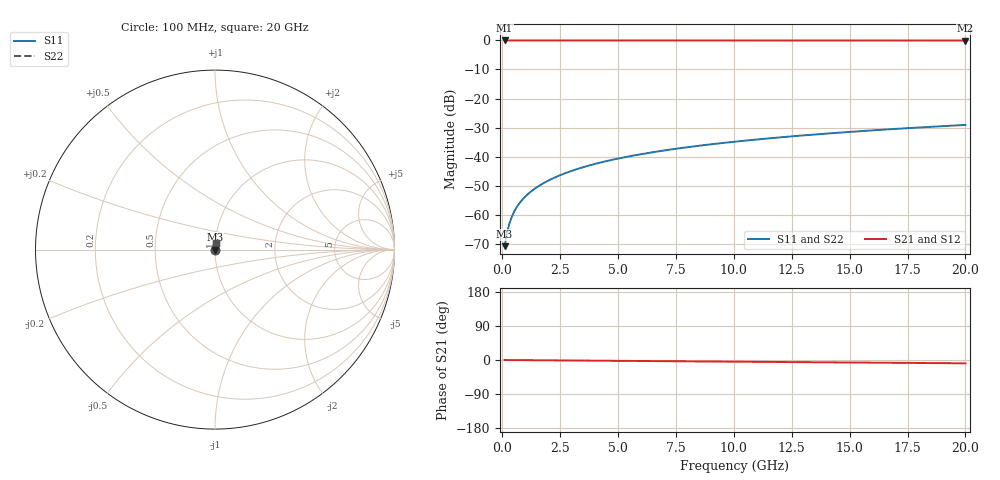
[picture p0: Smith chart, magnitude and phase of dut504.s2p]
! Touchstone file exported from HFSS 2026.1.0
!  File:  C:/ffzhzh/LocalFiles/Ansys_Project_Files/temp_train_TSV_504_1783023122_55676.aedt
!  Generated:  04:14:11 AM Jul  3, 2026
!  Design:  TSV
!  Project:  temp_train_TSV_504_1783023122_55676
! Variables:
!  h_bsmrdl = 2um
!  h_ox = 20um
!  h_rdl = 5um
!  h_sub = 84.95um
!  h_tmrdl = 5um
!  h_tsv = 84.95um
!  h_via = 3um
!  l_bsmrdl = 300um
!  l_sub = 416.3um
!  l_tmrdl = 200um
!  m_sub = 200um
!  pitch = 44.2um
!  r_tsv = 8.15um
!  s_tmrdl = 10um
!  w_bsmrdl = 18um
!  w_sub = 500um
!  w_tmrdl = 12um
!  x_tsv_center1 = 206um
!  x_tsv_center2 = 524um
!  x_tsv_center3 = 736um
!  x_tsv_center4 = 1054um
!  x_tsv_center5 = 1266um
!  x_tsv_center6 = 1584um
# GHz S MA R 50.000000
! Terminal data exported
! Port[1] = TSV1_1_T1
! Port[2] = TSV1_1_T2
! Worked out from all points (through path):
!   200 points, 100 MHz to 20 GHz, reference 50 ohm
!   highest |S21| = 0.00 dB at 100 MHz (marker M1); lowest = 0.0 dB at 20 GHz (marker M2)
!   group delay of S21, straight-line fit = 1.21 ps
!   lowest |S11| = -70.8 dB at 100 MHz (marker M3), VSWR 1.00, Z = 50 + j0.0221 ohm
!   |S11| at or under -10 dB: start of sweep to end of sweep
!   |S22| runs from -70.8 to -29.1 dB; largest |S21 - S12| = 6.1e-15
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0.1  0.0002868 50.5  0.9998 -0.0  0.9998 -0.0  0.0002868 50.5
! Gamma 0 0 0 0
! Port Impedance 50 0 50 0
0.2  0.000481 66.2  0.9998 -0.1  0.9998 -0.1  0.000481 66.2
0.3  0.0006883 72.1  0.9998 -0.1  0.9998 -0.1  0.0006883 72.1
0.4  0.0008957 74.9  0.9998 -0.2  0.9998 -0.2  0.0008957 74.9
0.5  0.0011 76.4  0.9997 -0.2  0.9997 -0.2  0.0011 76.4
0.6  0.0013 77.4  0.9997 -0.3  0.9997 -0.3  0.0013 77.4
0.7  0.001495 78.0  0.9997 -0.3  0.9997 -0.3  0.001495 78.0
0.8  0.001688 78.5  0.9997 -0.4  0.9997 -0.4  0.001688 78.5
1  0.002064 79.3  0.9996 -0.5  0.9996 -0.5  0.002064 79.3
1.4  0.002798 80.5  0.9996 -0.6  0.9996 -0.6  0.002798 80.5
1.7  0.003342 81.1  0.9995 -0.8  0.9995 -0.8  0.003342 81.1
2  0.003885 81.6  0.9995 -0.9  0.9995 -0.9  0.003885 81.6
2.7  0.005148 82.4  0.9994 -1.2  0.9994 -1.2  0.005148 82.4
3.5  0.006585 82.8  0.9993 -1.6  0.9993 -1.6  0.006585 82.8
4.2  0.007836 83.0  0.9993 -1.9  0.9993 -1.9  0.007836 83.0
5  0.009257 83.0  0.9992 -2.2  0.9992 -2.2  0.009257 83.0
6.8  0.01243 82.8  0.999 -3.0  0.999 -3.0  0.01243 82.8
8.3  0.01504 82.5  0.9989 -3.7  0.9989 -3.7  0.01504 82.5
10.1  0.01817 82.1  0.9987 -4.4  0.9987 -4.4  0.01817 82.1
13.4  0.02386 81.1  0.9985 -5.9  0.9985 -5.9  0.02386 81.1
16.7  0.02951 80.0  0.9982 -7.3  0.9982 -7.3  0.02951 79.9
20  0.03511 78.7  0.9978 -8.8  0.9978 -8.8  0.03511 78.7
